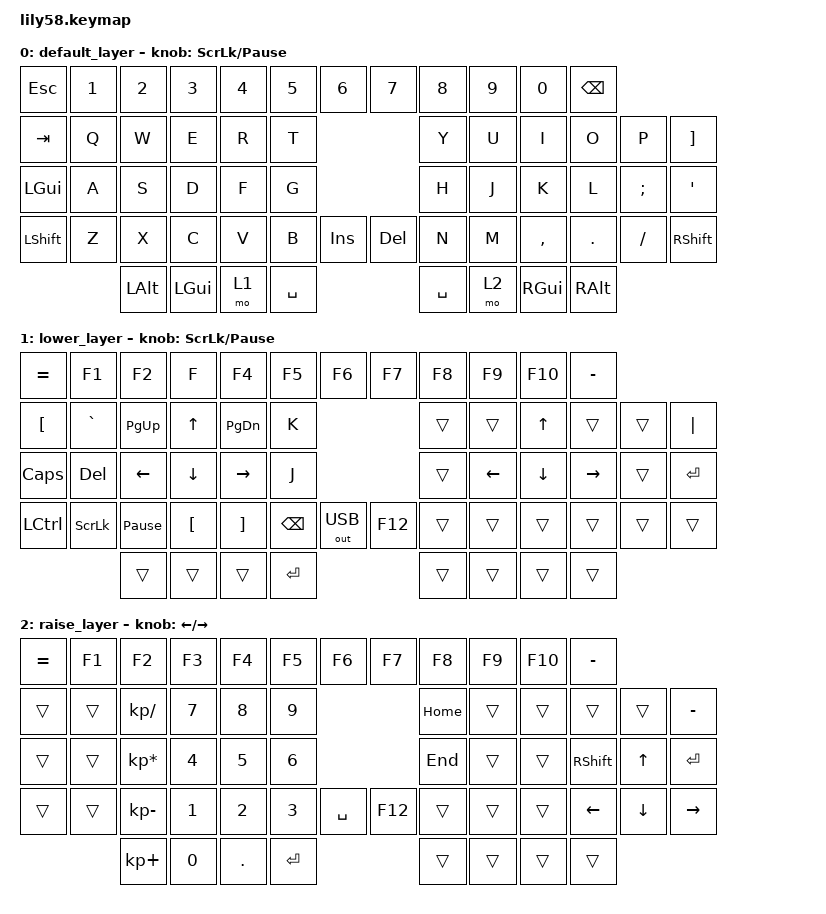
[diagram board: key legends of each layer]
#include <behaviors.dtsi>
#include <dt-bindings/zmk/keys.h>
#include <dt-bindings/zmk/outputs.h>
#define DEFAULT 0
#define LOWER   1
#define RAISE   2

/ {
	keymap {
		compatible = "zmk,keymap";

		default_layer {
// ------------------------------------------------------------------------------------------------------------
// |  ESC  |  1  |  2  |  3   |  4   |  5   |                   |  6   |  7    |  8    |  9   |   0   |  BKSP |
// |  TAB  |  Q  |  W  |  E   |  R   |  T   |                   |  Y   |  U    |  I    |  O   |   P   |  "]"  |
// |  GUI  |  A  |  S  |  D   |  F   |  G   |                   |  H   |  J    |  K    |  L   |   ;   |   '   |
// | SHIFT |  Z  |  X  |  C   |  V   |  B   |  PLAY  |  |  DEL  |  N   |  M    |  ,    |  .   |   /   | SHIFT |
//                     | ALT  | GUI  | LOWER|  SPACE |  | SPACE | RAISE| GUI   | ALT   |
			bindings = <
&kp ESC  &kp N1 &kp N2 &kp N3 &kp N4 &kp N5                    &kp N6 &kp N7 &kp N8 &kp N9 &kp N0 &kp BSPC
&kp TAB  &kp Q     &kp W     &kp E     &kp R     &kp T                        &kp Y     &kp U     &kp I     &kp O     &kp P     &kp RBKT
&kp LGUI &kp A     &kp S     &kp D     &kp F     &kp G                        &kp H     &kp J     &kp K     &kp L     &kp SEMI  &kp SQT
&kp LSHFT &kp Z    &kp X     &kp C     &kp V     &kp B    &kp INS   &kp DEL   &kp N     &kp M     &kp COMMA  &kp DOT  &kp FSLH  &kp RSHFT
                   &kp LALT  &kp LGUI  &mo 1     &kp SPACE                      &kp SPACE   &mo 2     &kp RGUI  &kp RALT
			>;

            sensor-bindings = <&inc_dec_kp SLCK PAUSE_BREAK>;
		};

		lower_layer {
// ------------------------------------------------------------------------------------------------------------
// |   =   |  F1 |  F2 |  F3  |  F4  |  F5  |                   |  F6  |  F7   |  F8   |  F9  |  F10  |   -   |
// |  "["  |  `  |PG UP|  ^   |PG DN |   K  |                   |      |       |   ^   |      |       |  "|"  |
// |  CAPS | DEL |  <- |  v   |  ->  |   J  |                   |      |   <-  |   v   |  ->  |       | ENTER |
// |  CTRL |VOL D|VOL U| "["  | "]"  | BKSP |   USB  |  |  F12  |      |       |       |      |       |       |
//                     |      |      |      |  ENTER |  |       |      |       |       |
			bindings = <
&kp EQUAL &kp F1    &kp F2     &kp F   &kp F4     &kp F5                       &kp F6    &kp F7    &kp F8    &kp F9    &kp F10   &kp MINUS
&kp LBKT  &kp GRAVE &kp PG_UP  &kp UP  &kp PG_DN  &kp K                        &trans    &trans    &kp UP  &trans    &trans    &kp PIPE
&kp CLCK  &kp DEL   &kp LEFT  &kp DOWN  &kp RIGHT  &kp J                        &trans    &kp LEFT  &kp DOWN  &kp RIGHT  &trans    &kp RET
&kp LCTRL &kp SLCK  &kp PAUSE_BREAK  &kp LBKT  &kp RBKT  &kp BSPC  &out OUT_USB  &kp F12   &trans    &trans    &trans    &trans    &trans    &trans
                   &trans    &trans    &trans    &kp RET                      &trans    &trans    &trans    &trans
			>;

            sensor-bindings = <&inc_dec_kp SLCK PAUSE_BREAK>;
		};

		raise_layer {
// ------------------------------------------------------------------------------------------------------------
// |   =   |  F1 |  F2 |  F3  |  F4  |  F5  |                   |  F6  |  F7   |  F8   |  F9  |  F10  |   -   |
// |       |     |  /  |   7  |   8  |   9  |                   | HOME |       |       |      |       |   -   |
// |       |     |  *  |   4  |   5  |   6  |                   |  END |       |       | SHIFT|   ^   | ENTER |
// |       |     |  -  |   1  |   2  |   3  |  VIDEO |  |  F12  |      |       |       | <-   |   v   |  ->   |
//                     |   +  |   0  |   .  |  ENTER |  |       |      |       |       |
			bindings = <
&kp EQUAL  &kp F1    &kp F2      &kp F3    &kp F4    &kp F5                       &kp F6    &kp F7    &kp F8    &kp F9    &kp F10   &kp MINUS
&trans   &trans    &kp KP_DIVIDE    &kp N7 &kp N8 &kp N9                    &kp HOME  &trans    &trans    &trans    &trans    &kp MINUS
&trans   &trans    &kp KP_MULTIPLY    &kp N4 &kp N5 &kp N6                    &kp END   &trans    &trans    &kp RSHFT  &kp UP  &kp RET
&trans   &trans    &kp KP_MINUS    &kp N1 &kp N2 &kp N3 &kp SPACE  &kp F12   &trans    &trans    &trans    &kp LEFT  &kp DOWN  &kp RIGHT
                   &kp KP_PLUS    &kp N0 &kp DOT   &kp RET                      &trans    &trans    &trans    &trans
			>;

            sensor-bindings = <&inc_dec_kp LEFT RIGHT>;
		};
	};
};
